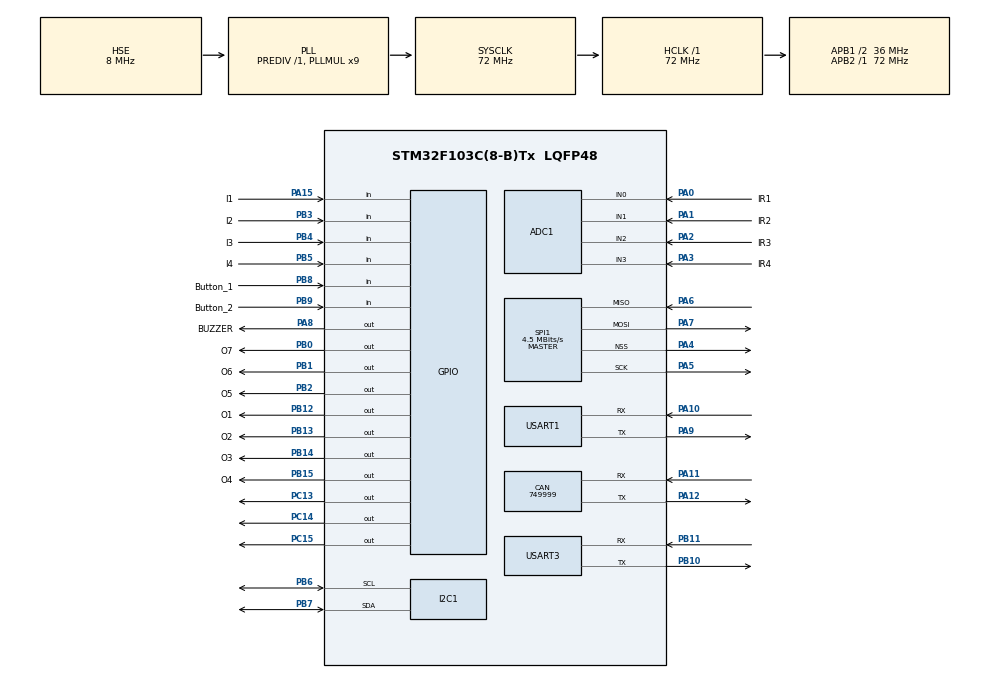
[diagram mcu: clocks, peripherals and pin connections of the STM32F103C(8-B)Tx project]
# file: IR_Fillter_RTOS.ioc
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ADC1.Channel-0\#ChannelRegularConversion=ADC_CHANNEL_0
ADC1.Channel-1\#ChannelRegularConversion=ADC_CHANNEL_1
ADC1.Channel-2\#ChannelRegularConversion=ADC_CHANNEL_2
ADC1.Channel-3\#ChannelRegularConversion=ADC_CHANNEL_3
ADC1.ContinuousConvMode=DISABLE
ADC1.NbrOfConversion=4
ADC1.NbrOfConversionFlag=1
ADC1.Rank-0\#ChannelRegularConversion=1
ADC1.Rank-1\#ChannelRegularConversion=2
ADC1.Rank-2\#ChannelRegularConversion=3
ADC1.Rank-3\#ChannelRegularConversion=4
ADC1.SamplingTime-0\#ChannelRegularConversion=ADC_SAMPLETIME_239CYCLES_5
ADC1.SamplingTime-1\#ChannelRegularConversion=ADC_SAMPLETIME_239CYCLES_5
ADC1.SamplingTime-2\#ChannelRegularConversion=ADC_SAMPLETIME_239CYCLES_5
ADC1.SamplingTime-3\#ChannelRegularConversion=ADC_SAMPLETIME_239CYCLES_5
ADC1.master=1
CAN.CalculateBaudRate=749999
CAN.CalculateTimeBit=1333
CAN.CalculateTimeQuantum=444.44444444444446
Dma.ADC1.0.Direction=DMA_PERIPH_TO_MEMORY
Dma.ADC1.0.Instance=DMA1_Channel1
Dma.ADC1.0.MemDataAlignment=DMA_MDATAALIGN_HALFWORD
Dma.ADC1.0.MemInc=DMA_MINC_ENABLE
Dma.ADC1.0.Mode=DMA_CIRCULAR
Dma.ADC1.0.PeriphDataAlignment=DMA_PDATAALIGN_HALFWORD
Dma.ADC1.0.PeriphInc=DMA_PINC_DISABLE
Dma.ADC1.0.Priority=DMA_PRIORITY_LOW
Dma.Request0=ADC1
FREERTOS.Mutexes01=led_lock,Dynamic,NULL,Available;myMutex02,Dynamic,NULL,Available
FREERTOS.Queues01=button_mes,16,uint16_t,0,Dynamic,NULL,NULL
FREERTOS.Tasks01=defaultTask,0,128,StartDefaultTask,Default,NULL,Dynamic,NULL,NULL;Task_Button,-2,384,StartTask_Button,Default,NULL,Dynamic,NULL,NULL;Task_Test_IR,-2,512,StartTask_Test_IR,Default,NULL,Dynamic,NULL,NULL;Task_ADC,-2,512,StartTask_ADC,Default,NULL,Dynamic,NULL,NULL
FREERTOS.Timers01=timer_buzzer,Callback_TimerSoft,osTimerPeriodic,Default,NULL,Dynamic,NULL
FREERTOS.configGENERATE_RUN_TIME_STATS=1
FREERTOS.configRECORD_STACK_HIGH_ADDRESS=1
FREERTOS.configTOTAL_HEAP_SIZE=8192
FREERTOS.configUSE_APPLICATION_TASK_TAG=1
FREERTOS.configUSE_STATS_FORMATTING_FUNCTIONS=1
FREERTOS.configUSE_TIMERS=1
FREERTOS.configUSE_TRACE_FACILITY=1
Mcu.Family=STM32F1
Mcu.Name=STM32F103C(8-B)Tx
Mcu.Package=LQFP48
NVIC.ADC1_2_IRQn=true\:6\:0\:true\:false\:true\:true\:true\:true\:true
NVIC.DMA1_Channel1_IRQn=true\:6\:0\:true\:false\:true\:true\:false\:true\:true
NVIC.PriorityGroup=NVIC_PRIORITYGROUP_4
NVIC.TIM1_BRK_IRQn=true\:6\:0\:true\:false\:true\:true\:true\:true\:true
NVIC.TIM1_UP_IRQn=true\:6\:0\:true\:false\:true\:true\:true\:true\:true
NVIC.TIM2_IRQn=true\:6\:0\:true\:false\:true\:true\:true\:true\:true
PA0-WKUP.GPIO_Label=IR1
PA0-WKUP.Signal=ADCx_IN0
PA1.GPIO_Label=IR2
PA1.Signal=ADCx_IN1
PA10.Mode=Asynchronous
PA10.Signal=USART1_RX
PA11.Mode=CAN_Activate
PA11.Signal=CAN_RX
PA12.Mode=CAN_Activate
PA12.Signal=CAN_TX
PA13.Mode=Serial_Wire
PA13.Signal=SYS_JTMS-SWDIO
PA14.Mode=Serial_Wire
PA14.Signal=SYS_JTCK-SWCLK
PA15.GPIO_Label=I1
PA15.Signal=GPIO_Input
PA2.GPIO_Label=IR3
PA2.Signal=ADCx_IN2
PA3.GPIO_Label=IR4
PA3.Signal=ADCx_IN3
PA4.Mode=NSS_Signal_Hard_Output
PA4.Signal=SPI1_NSS
PA5.Mode=Full_Duplex_Master
PA5.Signal=SPI1_SCK
PA6.Mode=Full_Duplex_Master
PA6.Signal=SPI1_MISO
PA7.Mode=Full_Duplex_Master
PA7.Signal=SPI1_MOSI
PA8.GPIO_Label=BUZZER
PA8.Signal=GPIO_Output
PA9.Mode=Asynchronous
PA9.Signal=USART1_TX
PB0.GPIO_Label=O7
PB0.Signal=GPIO_Output
PB1.GPIO_Label=O6
PB1.Signal=GPIO_Output
PB10.Mode=Asynchronous
PB10.Signal=USART3_TX
PB11.Mode=Asynchronous
PB11.Signal=USART3_RX
PB12.GPIO_Label=O1
PB12.Signal=GPIO_Output
PB13.GPIO_Label=O2
PB13.Signal=GPIO_Output
PB14.GPIO_Label=O3
PB14.Signal=GPIO_Output
PB15.GPIO_Label=O4
PB15.Signal=GPIO_Output
PB2.GPIO_Label=O5
PB2.Signal=GPIO_Output
PB3.GPIO_Label=I2
PB3.Signal=GPIO_Input
PB4.GPIO_Label=I3
PB4.Signal=GPIO_Input
PB5.GPIO_Label=I4
PB5.Signal=GPIO_Input
PB6.Mode=I2C
PB6.Signal=I2C1_SCL
PB7.Mode=I2C
PB7.Signal=I2C1_SDA
PB8.GPIO_Label=Button_1
PB8.GPIO_PuPd=GPIO_PULLUP
PB8.Signal=GPIO_Input
PB9.GPIO_Label=Button_2
PB9.Signal=GPIO_Input
PC13-TAMPER-RTC.Signal=GPIO_Output
PC14-OSC32_IN.Signal=GPIO_Output
PC15-OSC32_OUT.Signal=GPIO_Output
PD0-OSC_IN.Mode=HSE-External-Oscillator
PD0-OSC_IN.Signal=RCC_OSC_IN
PD1-OSC_OUT.Mode=HSE-External-Oscillator
PD1-OSC_OUT.Signal=RCC_OSC_OUT
ProjectManager.HeapSize=0x200
ProjectManager.StackSize=0x400
ProjectManager.TargetToolchain=STM32CubeIDE
RCC.ADCPresc=RCC_ADCPCLK2_DIV6
RCC.AHBFreq_Value=72000000
RCC.APB1CLKDivider=RCC_HCLK_DIV2
RCC.APB1Freq_Value=36000000
RCC.APB1TimFreq_Value=72000000
RCC.APB2Freq_Value=72000000
RCC.APB2TimFreq_Value=72000000
RCC.HCLKFreq_Value=72000000
RCC.PLLMUL=RCC_PLL_MUL9
RCC.PLLSourceVirtual=RCC_PLLSOURCE_HSE
RCC.SYSCLKFreq_VALUE=72000000
RCC.SYSCLKSource=RCC_SYSCLKSOURCE_PLLCLK
RCC.USBFreq_Value=72000000
SH.ADCx_IN0.0=ADC1_IN0,IN0
SH.ADCx_IN1.0=ADC1_IN1,IN1
SH.ADCx_IN2.0=ADC1_IN2,IN2
SH.ADCx_IN3.0=ADC1_IN3,IN3
SPI1.BaudRatePrescaler=SPI_BAUDRATEPRESCALER_16
SPI1.CalculateBaudRate=4.5 MBits/s
SPI1.Direction=SPI_DIRECTION_2LINES
SPI1.Mode=SPI_MODE_MASTER
SPI1.VirtualNSS=VM_NSSHARD
SPI1.VirtualType=VM_MASTER
TIM1.Period=1000-1
TIM1.Prescaler=72-1
TIM2.Period=100-1
TIM2.Prescaler=72-1
USART1.VirtualMode=VM_ASYNC
USART3.VirtualMode=VM_ASYNC
VP_FREERTOS_VS_CMSIS_V1.Mode=CMSIS_V1
VP_TIM1_VS_ClockSourceINT.Mode=Internal
VP_TIM2_VS_ClockSourceINT.Mode=Internal
board=custom

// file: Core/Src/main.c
/* USER CODE BEGIN Header */
/**
  ******************************************************************************
  * @file           : main.c
  * @brief          : Main program body
  ******************************************************************************
  * @attention
  *
  * Copyright (c) 2026 STMicroelectronics.
  * All rights reserved.
  *
  * This software is licensed under terms that can be found in the LICENSE file
  * in the root directory of this software component.
  * If no LICENSE file comes with this software, it is provided AS-IS.
  *
  ******************************************************************************
  */
/* USER CODE END Header */
#include "main.h"
#include "cmsis_os.h"

/* USER CODE BEGIN Includes */
#include <stdio.h>
#include <string.h>
#include <stdlib.h>
#include "handler_adc.h"
#include "handler_delay.h"
#include "handler_button.h"
#include "handler_flash.h"
/* USER CODE END Includes */

ADC_HandleTypeDef hadc1;
DMA_HandleTypeDef hdma_adc1;

CAN_HandleTypeDef hcan;

I2C_HandleTypeDef hi2c1;

SPI_HandleTypeDef hspi1;

TIM_HandleTypeDef htim1;
TIM_HandleTypeDef htim2;

UART_HandleTypeDef huart1;
UART_HandleTypeDef huart3;

osThreadId defaultTaskHandle;
osThreadId Task_ButtonHandle;
osThreadId Task_Test_IRHandle;
osThreadId Task_ADCHandle;
osMessageQId button_mesHandle;
osTimerId timer_buzzerHandle;
osMutexId led_lockHandle;
osMutexId myMutex02Handle;

void SystemClock_Config(void);
static void MX_GPIO_Init(void);
static void MX_DMA_Init(void);
static void MX_ADC1_Init(void);
static void MX_SPI1_Init(void);
static void MX_CAN_Init(void);
static void MX_I2C1_Init(void);
static void MX_TIM1_Init(void);
static void MX_TIM2_Init(void);
static void MX_USART1_UART_Init(void);
static void MX_USART3_UART_Init(void);
void StartDefaultTask(void const * argument);
void StartTask_Button(void const * argument);
void StartTask_Test_IR(void const * argument);
void StartTask_ADC(void const * argument);
void Callback_TimerSoft(void const * argument);

/* USER CODE BEGIN 0 */
volatile uint32_t timer1_counter = 0;
volatile uint16_t adc_val[ADC_CH_NUM] = {0};
uint16_t adc_tag[2] = {0};
Sammple_t sample = {0};
static adc_caculate_t adc_caculate = {0};
static uint16_t sample_count = 0;

Button_name_t Button_ok;
Button_name_t Button_ng;

REAL_VALUE product_value;

/* USER CODE END 0 */

int main(void)
{

  /* MCU Configuration--------------------------------------------------------*/

  /* Reset of all peripherals, Initializes the Flash interface and the Systick. */
  HAL_Init();

  /* Configure the system clock */
  SystemClock_Config();

  /* Initialize all configured peripherals */
  MX_GPIO_Init();
  MX_DMA_Init();
  MX_ADC1_Init();
  MX_SPI1_Init();
  MX_CAN_Init();
  MX_I2C1_Init();
  MX_TIM1_Init();
  MX_TIM2_Init();
  MX_USART1_UART_Init();
  MX_USART3_UART_Init();
  /* USER CODE BEGIN 2 */
  Button_Init(&Button_ok, I2_GPIO_Port, I2_Pin);
  Button_Init(&Button_ng, I1_GPIO_Port, I1_Pin);
  HAL_TIM_Base_Start_IT(&htim1);
//  HAL_ADC_Start_DMA(&hadc1, (uint32_t*)adc_val, 4);
  for(uint8_t i = 0 ; i < 50; i++)
  {
	  HAL_GPIO_TogglePin(O1_GPIO_Port, O1_Pin);
	  Delay_ms(30);
	  HAL_GPIO_TogglePin(O2_GPIO_Port, O2_Pin);
	  Delay_ms(30);
  }

  /* USER CODE END 2 */

  /* Create the mutex(es) */
  /* definition and creation of led_lock */
  osMutexDef(led_lock);
  led_lockHandle = osMutexCreate(osMutex(led_lock));

  /* definition and creation of myMutex02 */
  osMutexDef(myMutex02);
  myMutex02Handle = osMutexCreate(osMutex(myMutex02));

  /* Create the timer(s) */
  /* definition and creation of timer_buzzer */
  osTimerDef(timer_buzzer, Callback_TimerSoft);
  timer_buzzerHandle = osTimerCreate(osTimer(timer_buzzer), osTimerPeriodic, NULL);

  /* USER CODE BEGIN RTOS_TIMERS */
//  osTimerStart(timer_buzzerHandle, 1000);
  /* start timers, add new ones, ... */
  /* USER CODE END RTOS_TIMERS */

  /* Create the queue(s) */
  /* definition and creation of button_mes */
  osMessageQDef(button_mes, 16, uint16_t);
  button_mesHandle = osMessageCreate(osMessageQ(button_mes), NULL);

  /* Create the thread(s) */
  /* definition and creation of defaultTask */
  osThreadDef(defaultTask, StartDefaultTask, osPriorityNormal, 0, 128);
  defaultTaskHandle = osThreadCreate(osThread(defaultTask), NULL);

  /* definition and creation of Task_Button */
  osThreadDef(Task_Button, StartTask_Button, osPriorityLow, 0, 384);
  Task_ButtonHandle = osThreadCreate(osThread(Task_Button), NULL);

  /* definition and creation of Task_Test_IR */
  osThreadDef(Task_Test_IR, StartTask_Test_IR, osPriorityLow, 0, 512);
  Task_Test_IRHandle = osThreadCreate(osThread(Task_Test_IR), NULL);

  /* definition and creation of Task_ADC */
  osThreadDef(Task_ADC, StartTask_ADC, osPriorityLow, 0, 512);
  Task_ADCHandle = osThreadCreate(osThread(Task_ADC), NULL);

  /* Start scheduler */
  osKernelStart();

  /* We should never get here as control is now taken by the scheduler */

  /* Infinite loop */
  while (1)
  {

  }
}

void SystemClock_Config(void)
{
  RCC_OscInitTypeDef RCC_OscInitStruct = {0};
  RCC_ClkInitTypeDef RCC_ClkInitStruct = {0};
  RCC_PeriphCLKInitTypeDef PeriphClkInit = {0};

  /** Initializes the RCC Oscillators according to the specified parameters
  * in the RCC_OscInitTypeDef structure.
  */
  RCC_OscInitStruct.OscillatorType = RCC_OSCILLATORTYPE_HSE;
  RCC_OscInitStruct.HSEState = RCC_HSE_ON;
  RCC_OscInitStruct.HSEPredivValue = RCC_HSE_PREDIV_DIV1;
  RCC_OscInitStruct.HSIState = RCC_HSI_ON;
  RCC_OscInitStruct.PLL.PLLState = RCC_PLL_ON;
  RCC_OscInitStruct.PLL.PLLSource = RCC_PLLSOURCE_HSE;
  RCC_OscInitStruct.PLL.PLLMUL = RCC_PLL_MUL9;
  if (HAL_RCC_OscConfig(&RCC_OscInitStruct) != HAL_OK)
  {
    Error_Handler();
  }

  /** Initializes the CPU, AHB and APB buses clocks
  */
  RCC_ClkInitStruct.ClockType = RCC_CLOCKTYPE_HCLK|RCC_CLOCKTYPE_SYSCLK
                              |RCC_CLOCKTYPE_PCLK1|RCC_CLOCKTYPE_PCLK2;
  RCC_ClkInitStruct.SYSCLKSource = RCC_SYSCLKSOURCE_PLLCLK;
  RCC_ClkInitStruct.AHBCLKDivider = RCC_SYSCLK_DIV1;
  RCC_ClkInitStruct.APB1CLKDivider = RCC_HCLK_DIV2;
  RCC_ClkInitStruct.APB2CLKDivider = RCC_HCLK_DIV1;

  if (HAL_RCC_ClockConfig(&RCC_ClkInitStruct, FLASH_LATENCY_2) != HAL_OK)
  {
    Error_Handler();
  }
  PeriphClkInit.PeriphClockSelection = RCC_PERIPHCLK_ADC;
  PeriphClkInit.AdcClockSelection = RCC_ADCPCLK2_DIV6;
  if (HAL_RCCEx_PeriphCLKConfig(&PeriphClkInit) != HAL_OK)
  {
    Error_Handler();
  }
}

static void MX_ADC1_Init(void)
{

  ADC_ChannelConfTypeDef sConfig = {0};

  /** Common config
  */
  hadc1.Instance = ADC1;
  hadc1.Init.ScanConvMode = ADC_SCAN_ENABLE;
  hadc1.Init.ContinuousConvMode = DISABLE;
  hadc1.Init.DiscontinuousConvMode = DISABLE;
  hadc1.Init.ExternalTrigConv = ADC_SOFTWARE_START;
  hadc1.Init.DataAlign = ADC_DATAALIGN_RIGHT;
  hadc1.Init.NbrOfConversion = 4;
  if (HAL_ADC_Init(&hadc1) != HAL_OK)
  {
    Error_Handler();
  }

  /** Configure Regular Channel
  */
  sConfig.Channel = ADC_CHANNEL_0;
  sConfig.Rank = ADC_REGULAR_RANK_1;
  sConfig.SamplingTime = ADC_SAMPLETIME_239CYCLES_5;
  if (HAL_ADC_ConfigChannel(&hadc1, &sConfig) != HAL_OK)
  {
    Error_Handler();
  }

  /** Configure Regular Channel
  */
  sConfig.Channel = ADC_CHANNEL_1;
  sConfig.Rank = ADC_REGULAR_RANK_2;
  if (HAL_ADC_ConfigChannel(&hadc1, &sConfig) != HAL_OK)
  {
    Error_Handler();
  }

  /** Configure Regular Channel
  */
  sConfig.Channel = ADC_CHANNEL_2;
  sConfig.Rank = ADC_REGULAR_RANK_3;
  if (HAL_ADC_ConfigChannel(&hadc1, &sConfig) != HAL_OK)
  {
    Error_Handler();
  }

  /** Configure Regular Channel
  */
  sConfig.Channel = ADC_CHANNEL_3;
  sConfig.Rank = ADC_REGULAR_RANK_4;
  if (HAL_ADC_ConfigChannel(&hadc1, &sConfig) != HAL_OK)
  {
    Error_Handler();
  }

}

static void MX_CAN_Init(void)
{

  hcan.Instance = CAN1;
  hcan.Init.Prescaler = 16;
  hcan.Init.Mode = CAN_MODE_NORMAL;
  hcan.Init.SyncJumpWidth = CAN_SJW_1TQ;
  hcan.Init.TimeSeg1 = CAN_BS1_1TQ;
  hcan.Init.TimeSeg2 = CAN_BS2_1TQ;
  hcan.Init.TimeTriggeredMode = DISABLE;
  hcan.Init.AutoBusOff = DISABLE;
  hcan.Init.AutoWakeUp = DISABLE;
  hcan.Init.AutoRetransmission = DISABLE;
  hcan.Init.ReceiveFifoLocked = DISABLE;
  hcan.Init.TransmitFifoPriority = DISABLE;
  if (HAL_CAN_Init(&hcan) != HAL_OK)
  {
    Error_Handler();
  }

}

static void MX_I2C1_Init(void)
{

  hi2c1.Instance = I2C1;
  hi2c1.Init.ClockSpeed = 100000;
  hi2c1.Init.DutyCycle = I2C_DUTYCYCLE_2;
  hi2c1.Init.OwnAddress1 = 0;
  hi2c1.Init.AddressingMode = I2C_ADDRESSINGMODE_7BIT;
  hi2c1.Init.DualAddressMode = I2C_DUALADDRESS_DISABLE;
  hi2c1.Init.OwnAddress2 = 0;
  hi2c1.Init.GeneralCallMode = I2C_GENERALCALL_DISABLE;
  hi2c1.Init.NoStretchMode = I2C_NOSTRETCH_DISABLE;
  if (HAL_I2C_Init(&hi2c1) != HAL_OK)
  {
    Error_Handler();
  }

}

static void MX_SPI1_Init(void)
{

  /* SPI1 parameter configuration*/
  hspi1.Instance = SPI1;
  hspi1.Init.Mode = SPI_MODE_MASTER;
  hspi1.Init.Direction = SPI_DIRECTION_2LINES;
  hspi1.Init.DataSize = SPI_DATASIZE_8BIT;
  hspi1.Init.CLKPolarity = SPI_POLARITY_LOW;
  hspi1.Init.CLKPhase = SPI_PHASE_1EDGE;
  hspi1.Init.NSS = SPI_NSS_HARD_OUTPUT;
  hspi1.Init.BaudRatePrescaler = SPI_BAUDRATEPRESCALER_16;
  hspi1.Init.FirstBit = SPI_FIRSTBIT_MSB;
  hspi1.Init.TIMode = SPI_TIMODE_DISABLE;
  hspi1.Init.CRCCalculation = SPI_CRCCALCULATION_DISABLE;
  hspi1.Init.CRCPolynomial = 10;
  if (HAL_SPI_Init(&hspi1) != HAL_OK)
  {
    Error_Handler();
  }

}

static void MX_TIM1_Init(void)
{

  TIM_ClockConfigTypeDef sClockSourceConfig = {0};
  TIM_MasterConfigTypeDef sMasterConfig = {0};

  htim1.Instance = TIM1;
  htim1.Init.Prescaler = 72-1;
  htim1.Init.CounterMode = TIM_COUNTERMODE_UP;
  htim1.Init.Period = 1000-1;
  htim1.Init.ClockDivision = TIM_CLOCKDIVISION_DIV1;
  htim1.Init.RepetitionCounter = 0;
  htim1.Init.AutoReloadPreload = TIM_AUTORELOAD_PRELOAD_DISABLE;
  if (HAL_TIM_Base_Init(&htim1) != HAL_OK)
  {
    Error_Handler();
  }
  sClockSourceConfig.ClockSource = TIM_CLOCKSOURCE_INTERNAL;
  if (HAL_TIM_ConfigClockSource(&htim1, &sClockSourceConfig) != HAL_OK)
  {
    Error_Handler();
  }
  sMasterConfig.MasterOutputTrigger = TIM_TRGO_RESET;
  sMasterConfig.MasterSlaveMode = TIM_MASTERSLAVEMODE_DISABLE;
  if (HAL_TIMEx_MasterConfigSynchronization(&htim1, &sMasterConfig) != HAL_OK)
  {
    Error_Handler();
  }

}

static void MX_TIM2_Init(void)
{

  TIM_ClockConfigTypeDef sClockSourceConfig = {0};
  TIM_MasterConfigTypeDef sMasterConfig = {0};

  htim2.Instance = TIM2;
  htim2.Init.Prescaler = 72-1;
  htim2.Init.CounterMode = TIM_COUNTERMODE_UP;
  htim2.Init.Period = 100-1;
  htim2.Init.ClockDivision = TIM_CLOCKDIVISION_DIV1;
  htim2.Init.AutoReloadPreload = TIM_AUTORELOAD_PRELOAD_DISABLE;
  if (HAL_TIM_Base_Init(&htim2) != HAL_OK)
  {
    Error_Handler();
  }
  sClockSourceConfig.ClockSource = TIM_CLOCKSOURCE_INTERNAL;
  if (HAL_TIM_ConfigClockSource(&htim2, &sClockSourceConfig) != HAL_OK)
  {
    Error_Handler();
  }
  sMasterConfig.MasterOutputTrigger = TIM_TRGO_RESET;
  sMasterConfig.MasterSlaveMode = TIM_MASTERSLAVEMODE_DISABLE;
  if (HAL_TIMEx_MasterConfigSynchronization(&htim2, &sMasterConfig) != HAL_OK)
  {
    Error_Handler();
  }

}

static void MX_USART1_UART_Init(void)
{

  huart1.Instance = USART1;
  huart1.Init.BaudRate = 115200;
  huart1.Init.WordLength = UART_WORDLENGTH_8B;
  huart1.Init.StopBits = UART_STOPBITS_1;
  huart1.Init.Parity = UART_PARITY_NONE;
  huart1.Init.Mode = UART_MODE_TX_RX;
  huart1.Init.HwFlowCtl = UART_HWCONTROL_NONE;
  huart1.Init.OverSampling = UART_OVERSAMPLING_16;
  if (HAL_UART_Init(&huart1) != HAL_OK)
  {
    Error_Handler();
  }

}

static void MX_USART3_UART_Init(void)
{

  huart3.Instance = USART3;
  huart3.Init.BaudRate = 115200;
  huart3.Init.WordLength = UART_WORDLENGTH_8B;
  huart3.Init.StopBits = UART_STOPBITS_1;
  huart3.Init.Parity = UART_PARITY_NONE;
  huart3.Init.Mode = UART_MODE_TX_RX;
  huart3.Init.HwFlowCtl = UART_HWCONTROL_NONE;
  huart3.Init.OverSampling = UART_OVERSAMPLING_16;
  if (HAL_UART_Init(&huart3) != HAL_OK)
  {
    Error_Handler();
  }

}

static void MX_DMA_Init(void)
{

  /* DMA controller clock enable */
  __HAL_RCC_DMA1_CLK_ENABLE();

  /* DMA interrupt init */
  /* DMA1_Channel1_IRQn interrupt configuration */
  HAL_NVIC_SetPriority(DMA1_Channel1_IRQn, 6, 0);
  HAL_NVIC_EnableIRQ(DMA1_Channel1_IRQn);

}

static void MX_GPIO_Init(void)
{
  GPIO_InitTypeDef GPIO_InitStruct = {0};

  /* GPIO Ports Clock Enable */
  __HAL_RCC_GPIOC_CLK_ENABLE();
  __HAL_RCC_GPIOD_CLK_ENABLE();
  __HAL_RCC_GPIOA_CLK_ENABLE();
  __HAL_RCC_GPIOB_CLK_ENABLE();

  /*Configure GPIO pin Output Level */
  HAL_GPIO_WritePin(GPIOC, GPIO_PIN_13|GPIO_PIN_14|GPIO_PIN_15, GPIO_PIN_RESET);

  /*Configure GPIO pin Output Level */
  HAL_GPIO_WritePin(GPIOB, O7_Pin|O6_Pin|O5_Pin|O1_Pin
                          |O2_Pin|O3_Pin|O4_Pin, GPIO_PIN_RESET);

  /*Configure GPIO pin Output Level */
  HAL_GPIO_WritePin(BUZZER_GPIO_Port, BUZZER_Pin, GPIO_PIN_RESET);

  /*Configure GPIO pins : PC13 PC14 PC15 */
  GPIO_InitStruct.Pin = GPIO_PIN_13|GPIO_PIN_14|GPIO_PIN_15;
  GPIO_InitStruct.Mode = GPIO_MODE_OUTPUT_PP;
  GPIO_InitStruct.Pull = GPIO_NOPULL;
  GPIO_InitStruct.Speed = GPIO_SPEED_FREQ_LOW;
  HAL_GPIO_Init(GPIOC, &GPIO_InitStruct);

  /*Configure GPIO pins : O7_Pin O6_Pin O5_Pin O1_Pin
                           O2_Pin O3_Pin O4_Pin */
  GPIO_InitStruct.Pin = O7_Pin|O6_Pin|O5_Pin|O1_Pin
                          |O2_Pin|O3_Pin|O4_Pin;
  GPIO_InitStruct.Mode = GPIO_MODE_OUTPUT_PP;
  GPIO_InitStruct.Pull = GPIO_NOPULL;
  GPIO_InitStruct.Speed = GPIO_SPEED_FREQ_LOW;
  HAL_GPIO_Init(GPIOB, &GPIO_InitStruct);

  /*Configure GPIO pin : BUZZER_Pin */
  GPIO_InitStruct.Pin = BUZZER_Pin;
  GPIO_InitStruct.Mode = GPIO_MODE_OUTPUT_PP;
  GPIO_InitStruct.Pull = GPIO_NOPULL;
  GPIO_InitStruct.Speed = GPIO_SPEED_FREQ_LOW;
  HAL_GPIO_Init(BUZZER_GPIO_Port, &GPIO_InitStruct);

  /*Configure GPIO pin : I1_Pin */
  GPIO_InitStruct.Pin = I1_Pin;
  GPIO_InitStruct.Mode = GPIO_MODE_INPUT;
  GPIO_InitStruct.Pull = GPIO_NOPULL;
  HAL_GPIO_Init(I1_GPIO_Port, &GPIO_InitStruct);

  /*Configure GPIO pins : I2_Pin I3_Pin I4_Pin Button_2_Pin */
  GPIO_InitStruct.Pin = I2_Pin|I3_Pin|I4_Pin|Button_2_Pin;
  GPIO_InitStruct.Mode = GPIO_MODE_INPUT;
  GPIO_InitStruct.Pull = GPIO_NOPULL;
  HAL_GPIO_Init(GPIOB, &GPIO_InitStruct);

  /*Configure GPIO pin : Button_1_Pin */
  GPIO_InitStruct.Pin = Button_1_Pin;
  GPIO_InitStruct.Mode = GPIO_MODE_INPUT;
  GPIO_InitStruct.Pull = GPIO_PULLUP;
  HAL_GPIO_Init(Button_1_GPIO_Port, &GPIO_InitStruct);

}

/* USER CODE BEGIN 4 */
void HAL_TIM_PeriodElapsedCallback(TIM_HandleTypeDef *htim)
{
  if (htim->Instance == TIM2)
  {
  }
  if(htim->Instance == TIM1)
  {
	  timer1_counter++;
  }
}

void HAL_ADC_ConvCpltCallback(ADC_HandleTypeDef* hadc)
{
	if(hadc->Instance == hadc1.Instance)
	{
		BaseType_t xHigherPriorityTaskWoken = pdFALSE;
		vTaskNotifyGiveFromISR(Task_Test_IRHandle, &xHigherPriorityTaskWoken);
		portYIELD_FROM_ISR(xHigherPriorityTaskWoken);
	}

}
/* USER CODE END 4 */

void StartDefaultTask(void const * argument)
{
  /* USER CODE BEGIN 5 */
  /* Infinite loop */
  for(;;)
  {
	  osDelay(1);
//	  HAL_UART_Transmit(&huart1, (uint16_t*)adc_val, 4, 1000);
//	  Delay_ms(100);
  }
  /* USER CODE END 5 */
}

void StartTask_Button(void const * argument)
{
  /* USER CODE BEGIN StartTask_Button */
	uint8_t msg;
  /* Infinite loop */
  for(;;)
  {
#if 1
	  ButtonState_t state;
	  state = BUTTON_Read(&Button_ok);

	  switch(state)
	  {
	  	  case SINGLE_CLICK:
			  break;
	  	  case DOUBLE_CLICK:
				break;
	  	  case LONGCLICK_3S:
	  		osTimerStop(timer_buzzerHandle);
	  		  if(product_value == REAL_PR_OK || product_value == FIRT_SAMPLE)
	  		  {
	  			msg = BTN_OK;
				xQueueSend(button_mesHandle, &msg, portMAX_DELAY);
				osMutexWait(led_lockHandle, portMAX_DELAY);
				for(int i = 0; i < 20; i++)
				 {
					GPIOB->ODR ^=  (1 << 12U);
					Delay_ms(70);
				 }
				osMutexRelease(led_lockHandle);
	  		  }
	  		  else
	  		  {
//	  			osMutexWait(myMutex02Handle, portMAX_DELAY);
	  			GPIOA->ODR &=  ~(1 << 8U);
	  			for(int i = 0; i < 20; i++)
				 {
	  				GPIOA->ODR ^=  (1 << 8U);
					Delay_ms(70);
				 }
//	  			osMutexRelease(myMutex02Handle);
	  		  }
	  		break;
	  	  default:
	  		  break;
	  }
	  state = BUTTON_Read(&Button_ng);

	  switch(state)
	  {
		  case SINGLE_CLICK:
			  break;
		  case DOUBLE_CLICK:
				break;
		  case LONGCLICK_3S:
			  	  osTimerStop(timer_buzzerHandle);
				  if(product_value == REAL_PR_NG ||  product_value == FIRT_SAMPLE)
				  {
					  msg = BTN_NG;
					  xQueueSend(button_mesHandle, &msg, portMAX_DELAY);
					  osMutexWait(led_lockHandle, portMAX_DELAY);
					  GPIOA->ODR &=  ~(1 << 8U);
					 for(int i = 0; i < 20; i++)
					 {

						 GPIOB->ODR ^=  (1 << 13U);
						Delay_ms(70);
					 }
					 osMutexRelease(led_lockHandle);
				  }
				  else
				  {
//					osMutexWait(myMutex02Handle, portMAX_DELAY);
					 GPIOA->ODR &=  ~(1 << 8U);
					for(int i = 0; i < 20; i++)
					 {
						GPIOA->ODR ^=  (1 << 8U);
						Delay_ms(70);
					 }
//					osMutexRelease(myMutex02Handle);

				  }
			break;
		  default:
			  break;
	  }
#endif
  }
  /* USER CODE END StartTask_Button */
}

void StartTask_Test_IR(void const * argument)
{
  /* USER CODE BEGIN StartTask_Test_IR */
	uint8_t msg;

  /* Infinite loop */
  for(;;)
  {
#if 1
	  if (xQueueReceive(button_mesHandle, &msg, portMAX_DELAY) == pdPASS)
	  {
		  sample_count = 0;
		  adc_caculate = (adc_caculate_t){0};
		  while(sample_count < ADC_SAMPLE_COUNT)
		  {
			  HAL_ADC_Start_DMA(&hadc1, (uint32_t*)adc_val, ADC_CH_NUM);
			  ulTaskNotifyTake(pdTRUE, portMAX_DELAY);
			  HAL_ADC_Stop_DMA(&hadc1);
			  adc_caculate.adc_in1[sample_count] = adc_val[1];
			  adc_caculate.adc_in2[sample_count] = adc_val[2];
			  sample_count++;
		  }
//		  quickSortArray_uint16(adc_caculate.adc_in1, ADC_SAMPLE_COUNT);
//		  quickSortArray_uint16(adc_caculate.adc_in2, ADC_SAMPLE_COUNT);
//		  adc_tag[0] = Average_Caculate((uint16_t*)adc_caculate.adc_in1, ADC_SAMPLE_COUNT,SKIP_VALUE);
//		  adc_tag[1] = Average_Caculate((uint16_t*)adc_caculate.adc_in2, ADC_SAMPLE_COUNT,SKIP_VALUE);
		  adc_tag[0] = MedianAverage(adc_caculate.adc_in1, ADC_SAMPLE_COUNT);
		  adc_tag[1] = MedianAverage(adc_caculate.adc_in2, ADC_SAMPLE_COUNT);
		  switch(msg)
		  {
		  	  case BTN_OK:
		  		  Flash_Write_Array_U16(FLASH_ADDR_OK, adc_tag, 2);
				  break;
		  	  case BTN_NG:
		  		  Flash_Write_Array_U16(FLASH_ADDR_NG, adc_tag, 2);
		  		  break;
		  	  default:
		  		  break;
		  }
	  }

#endif
  }
  /* USER CODE END StartTask_Test_IR */
}

void StartTask_ADC(void const * argument)
{
  /* USER CODE BEGIN StartTask_ADC */
	static uint8_t isNG_active = 0;
  /* Infinite loop */
  for(;;)
  {
	  HAL_ADC_Start_DMA(&hadc1, (uint32_t*)adc_val, ADC_CH_NUM);
#if 1
//----------------------- Detected Product-------------------------
	  if(adc_val[0] > DETECT_VALUE && adc_val[3] > DETECT_VALUE)
	  {
//		  if(max<adc_val[1]) max=adc_val[1];
//		  if(min>adc_val[1]) min=adc_val[1];
		  sample.right.ok = Flash_Read_U16(FLASH_ADDR_OK);
		  sample.left.ok = Flash_Read_U16(FLASH_ADDR_OK + 0x02);
		  sample.right.ng = Flash_Read_U16(FLASH_ADDR_NG);
		  sample.left.ng = Flash_Read_U16(FLASH_ADDR_NG + 0x02);
//-----------------------//Not Erase CHip----------------------------
		  if((sample.right.ok  != FLASH_EMPTY) &&
				  (sample.left.ok   != FLASH_EMPTY) &&
				  (sample.right.ng  != FLASH_EMPTY) &&
				  (sample.left.ng   != FLASH_EMPTY))
		  {
//----------------------OK PRODUCT---------------------------------------
			  if((adc_val[1] < ((sample.right.ok +sample.right.ng)/2)) &&
			     (adc_val[2] < ((sample.left.ok +sample.left.ng)/2)))
			  {
				  osMutexWait(led_lockHandle, portMAX_DELAY);
				  GPIOB->ODR |=  (1 << 12U);
				  GPIOB->ODR &=  ~(1 << 13U);
				  product_value = REAL_PR_OK;
				  osMutexRelease(led_lockHandle);
				  if(isNG_active)
				  {
					  osTimerStop(timer_buzzerHandle);
					  GPIOA->ODR &= ~(1 << 8U);
					  isNG_active = 0;
				  }
			  }
			  //----------------------NG PRODUCT---------------------------------------
			  else
			  {
				  //----------------------NG PRODUCT JUST has left glass ---------------------------------------
				  if((adc_val[1] > (sample.right.ok + sample.right.ng)/2) &&
					 (adc_val[2] < (sample.left.ok +sample.left.ng)/2))
				  {
					  product_value = WRONG_SAMPLE;
				  }
				  //----------------------NG PRODUCT JUST has right glass ---------------------------------------
				  else if((adc_val[1] < (sample.right.ok + sample.right.ng)/2) &&
					 (adc_val[2] > (sample.left.ok +sample.left.ng)/2))
				  {
					  product_value = WRONG_SAMPLE;
				  }

				  else
				  {
					  product_value = REAL_PR_NG;
				  }

				  osMutexWait(led_lockHandle, portMAX_DELAY);
				  GPIOB->ODR &=  ~(1 << 12U);
				  GPIOB->ODR |=  (1 << 13U);
				  osMutexRelease(led_lockHandle);

				  if(!isNG_active)
				 {
					 osTimerStart(timer_buzzerHandle, 50);
					 isNG_active = 1;
				 }

			  }
		  }
		  //-----------------------Read sample wrong (Sample_Wrong)----------------------------
		  else if(((sample.right.ok  - sample.right.ng) > 100) &&
				  ((sample.left.ok  - sample.left.ng) > 100))
		  {
			  osMutexWait(led_lockHandle, portMAX_DELAY);
			  product_value = FIRT_SAMPLE;
			  GPIOB->ODR ^=  (1 << 12U);
			  GPIOB->ODR ^=  (1 << 13U);
			  osDelay(10);
			  osMutexRelease(led_lockHandle);

		  }
		  else
		  {
			  product_value = FIRT_SAMPLE;
		  }

	  }
	  //--------------- Empty Product-------------------------
	  else
	  {
		  osMutexWait(led_lockHandle, portMAX_DELAY);
		  GPIOB->ODR &=  ~(1 << 12U);
		  GPIOB->ODR &=  ~(1 << 13U);
		  product_value = NO_PRODUCT;
		  osMutexRelease(led_lockHandle);
		  if(isNG_active)
		  {
			 osTimerStop(timer_buzzerHandle);
			 GPIOA->ODR &= ~(1 << 8U);
			 isNG_active = 0;
		  }
	  }

#endif
  }
  /* USER CODE END StartTask_ADC */
}

/* Callback_TimerSoft function */
void Callback_TimerSoft(void const * argument)
{
  /* USER CODE BEGIN Callback_TimerSoft */
	static uint8_t buzzer_state = 0;
	buzzer_state ^= 1;

	if(buzzer_state)
		GPIOA->ODR |=  (1 << 8U);   // BẬT còi
	else
		GPIOA->ODR &= ~(1 << 8U);   // TẮT còi
  /* USER CODE END Callback_TimerSoft */
}

void Error_Handler(void)
{
  __disable_irq();
  while (1)
  {
  }
}

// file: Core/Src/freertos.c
/* USER CODE BEGIN Header */
/**
  ******************************************************************************
  * File Name          : freertos.c
  * Description        : Code for freertos applications
  ******************************************************************************
  * @attention
  *
  * Copyright (c) 2026 STMicroelectronics.
  * All rights reserved.
  *
  * This software is licensed under terms that can be found in the LICENSE file
  * in the root directory of this software component.
  * If no LICENSE file comes with this software, it is provided AS-IS.
  *
  ******************************************************************************
  */
/* USER CODE END Header */

#include "FreeRTOS.h"
#include "task.h"
#include "main.h"

/* USER CODE BEGIN Variables */
volatile unsigned long ulStatsTimerTicks;
extern TIM_HandleTypeDef htim2;
/* USER CODE END Variables */

/* GetIdleTaskMemory prototype (linked to static allocation support) */
void vApplicationGetIdleTaskMemory( StaticTask_t **ppxIdleTaskTCBBuffer, StackType_t **ppxIdleTaskStackBuffer, uint32_t *pulIdleTaskStackSize );

/* GetTimerTaskMemory prototype (linked to static allocation support) */
void vApplicationGetTimerTaskMemory( StaticTask_t **ppxTimerTaskTCBBuffer, StackType_t **ppxTimerTaskStackBuffer, uint32_t *pulTimerTaskStackSize );

/* Hook prototypes */
void configureTimerForRunTimeStats(void);
unsigned long getRunTimeCounterValue(void);

/* USER CODE BEGIN 1 */
/* Functions needed when configGENERATE_RUN_TIME_STATS is on */
__weak void configureTimerForRunTimeStats(void)
{
	ulStatsTimerTicks = 0;
	HAL_TIM_Base_Start_IT(&htim2);
}

__weak unsigned long getRunTimeCounterValue(void)
{
return ulStatsTimerTicks;
}
/* USER CODE END 1 */

/* USER CODE BEGIN GET_IDLE_TASK_MEMORY */
static StaticTask_t xIdleTaskTCBBuffer;
static StackType_t xIdleStack[configMINIMAL_STACK_SIZE];

void vApplicationGetIdleTaskMemory( StaticTask_t **ppxIdleTaskTCBBuffer, StackType_t **ppxIdleTaskStackBuffer, uint32_t *pulIdleTaskStackSize )
{
  *ppxIdleTaskTCBBuffer = &xIdleTaskTCBBuffer;
  *ppxIdleTaskStackBuffer = &xIdleStack[0];
  *pulIdleTaskStackSize = configMINIMAL_STACK_SIZE;
  /* place for user code */
}
/* USER CODE END GET_IDLE_TASK_MEMORY */

/* USER CODE BEGIN GET_TIMER_TASK_MEMORY */
static StaticTask_t xTimerTaskTCBBuffer;
static StackType_t xTimerStack[configTIMER_TASK_STACK_DEPTH];

void vApplicationGetTimerTaskMemory( StaticTask_t **ppxTimerTaskTCBBuffer, StackType_t **ppxTimerTaskStackBuffer, uint32_t *pulTimerTaskStackSize )
{
  *ppxTimerTaskTCBBuffer = &xTimerTaskTCBBuffer;
  *ppxTimerTaskStackBuffer = &xTimerStack[0];
  *pulTimerTaskStackSize = configTIMER_TASK_STACK_DEPTH;
  /* place for user code */
}
/* USER CODE END GET_TIMER_TASK_MEMORY */
